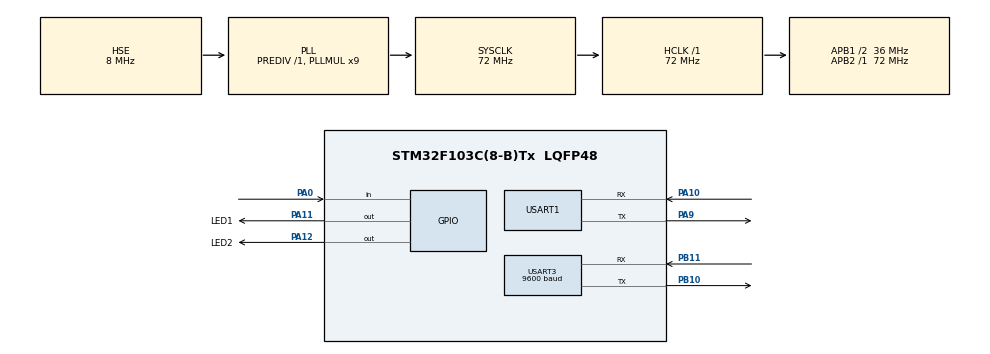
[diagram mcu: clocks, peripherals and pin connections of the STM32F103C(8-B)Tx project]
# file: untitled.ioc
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FREERTOS.Tasks01=defaultTask,24,128,StartDefaultTask,Default,NULL,Dynamic,NULL,NULL
FREERTOS.configUSE_NEWLIB_REENTRANT=1
Mcu.Family=STM32F1
Mcu.Name=STM32F103C(8-B)Tx
Mcu.Package=LQFP48
NVIC.PriorityGroup=NVIC_PRIORITYGROUP_4
NVIC.TIM2_IRQn=true\:5\:0\:false\:false\:true\:true\:true\:true\:true
NVIC.TIM4_IRQn=true\:15\:0\:false\:false\:true\:false\:false\:true\:true
NVIC.TimeBase=TIM4_IRQn
NVIC.TimeBaseIP=TIM4
NVIC.USART3_IRQn=true\:5\:0\:false\:false\:true\:true\:true\:true\:true
PA0-WKUP.Signal=GPIO_Input
PA10.Mode=Asynchronous
PA10.Signal=USART1_RX
PA11.GPIO_Label=LED1
PA11.Signal=GPIO_Output
PA12.GPIO_Label=LED2
PA12.Signal=GPIO_Output
PA13.Mode=Serial_Wire
PA13.Signal=SYS_JTMS-SWDIO
PA14.Mode=Serial_Wire
PA14.Signal=SYS_JTCK-SWCLK
PA9.Mode=Asynchronous
PA9.Signal=USART1_TX
PB10.Mode=Asynchronous
PB10.Signal=USART3_TX
PB11.Mode=Asynchronous
PB11.Signal=USART3_RX
PD0-OSC_IN.Mode=HSE-External-Oscillator
PD0-OSC_IN.Signal=RCC_OSC_IN
PD1-OSC_OUT.Mode=HSE-External-Oscillator
PD1-OSC_OUT.Signal=RCC_OSC_OUT
ProjectManager.HeapSize=0x200
ProjectManager.StackSize=0x400
ProjectManager.TargetToolchain=STM32CubeIDE
RCC.AHBFreq_Value=72000000
RCC.APB1CLKDivider=RCC_HCLK_DIV2
RCC.APB1Freq_Value=36000000
RCC.APB1TimFreq_Value=72000000
RCC.APB2Freq_Value=72000000
RCC.APB2TimFreq_Value=72000000
RCC.HCLKFreq_Value=72000000
RCC.PLLMUL=RCC_PLL_MUL9
RCC.PLLSourceVirtual=RCC_PLLSOURCE_HSE
RCC.SYSCLKFreq_VALUE=72000000
RCC.SYSCLKSource=RCC_SYSCLKSOURCE_PLLCLK
RCC.USBFreq_Value=72000000
TIM2.Period=500-1
TIM2.Prescaler=72-1
USART1.VirtualMode=VM_ASYNC
USART3.BaudRate=9600
USART3.VirtualMode=VM_ASYNC
VP_FREERTOS_VS_CMSIS_V2.Mode=CMSIS_V2
VP_SYS_VS_tim4.Mode=TIM4
VP_TIM2_VS_ClockSourceINT.Mode=Internal
board=custom

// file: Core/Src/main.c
/* USER CODE BEGIN Header */
/**
  ******************************************************************************
  * @file           : main.c
  * @brief          : Main program body
  ******************************************************************************
  * @attention
  *
  * Copyright (c) 2024 STMicroelectronics.
  * All rights reserved.
  *
  * This software is licensed under terms that can be found in the LICENSE file
  * in the root directory of this software component.
  * If no LICENSE file comes with this software, it is provided AS-IS.
  *
  ******************************************************************************
  */
/* USER CODE END Header */
#include "main.h"
#include "cmsis_os.h"

/* USER CODE BEGIN Includes */
#include "semphr.h"
#include "user_debug.h"
#include "user_usart.h"
#include "user_task.h"
/* USER CODE END Includes */

TIM_HandleTypeDef htim2;

UART_HandleTypeDef huart1;
UART_HandleTypeDef huart3;

/* Definitions for defaultTask */
osThreadId_t defaultTaskHandle;
const osThreadAttr_t defaultTask_attributes = {
  .name = "defaultTask",
  .stack_size = 128 * 4,
  .priority = (osPriority_t) osPriorityNormal,
};

void SystemClock_Config(void);
static void MX_GPIO_Init(void);
static void MX_TIM2_Init(void);
static void MX_USART1_UART_Init(void);
static void MX_USART3_UART_Init(void);
void StartDefaultTask(void *argument);

/* USER CODE BEGIN 0 */
SemaphoreHandle_t uart1_mutex;

extern uint8_t usart3_temp_buffer[1];

extern osThreadId_t ledTaskHandle;
extern const osThreadAttr_t ledTask_attributes;

extern osThreadId_t usartTaskHandle;
extern const osThreadAttr_t usartTask_attributes;

extern void UsartDefaultTask(void *argument);
extern void LedDefaultTask(void *argument);
/* USER CODE END 0 */

int main(void)
{

  /* MCU Configuration--------------------------------------------------------*/

  /* Reset of all peripherals, Initializes the Flash interface and the Systick. */
  HAL_Init();

  /* USER CODE BEGIN Init */
  uart1_mutex = xSemaphoreCreateMutex();
  /* USER CODE END Init */

  /* Configure the system clock */
  SystemClock_Config();

  /* Initialize all configured peripherals */
  MX_GPIO_Init();
  MX_TIM2_Init();
  MX_USART1_UART_Init();
  MX_USART3_UART_Init();
  /* USER CODE BEGIN 2 */
  HAL_TIM_Base_Start_IT(&htim2);
  HAL_UART_Receive_IT(&huart3, usart3_temp_buffer, 1);
  /* USER CODE END 2 */

  /* Init scheduler */
  osKernelInitialize();

  /* Create the thread(s) */
  /* creation of defaultTask */
  defaultTaskHandle = osThreadNew(StartDefaultTask, NULL, &defaultTask_attributes);

  /* USER CODE BEGIN RTOS_THREADS */
  /* add threads, ... */
  ledTaskHandle = osThreadNew(LedDefaultTask, NULL, &ledTask_attributes);
  usartTaskHandle = osThreadNew(UsartDefaultTask, NULL, &usartTask_attributes);
  /* USER CODE END RTOS_THREADS */

  /* Start scheduler */
  osKernelStart();

  /* We should never get here as control is now taken by the scheduler */

  /* Infinite loop */
  while (1)
  {

  }
}

void SystemClock_Config(void)
{
  RCC_OscInitTypeDef RCC_OscInitStruct = {0};
  RCC_ClkInitTypeDef RCC_ClkInitStruct = {0};

  /** Initializes the RCC Oscillators according to the specified parameters
  * in the RCC_OscInitTypeDef structure.
  */
  RCC_OscInitStruct.OscillatorType = RCC_OSCILLATORTYPE_HSE;
  RCC_OscInitStruct.HSEState = RCC_HSE_ON;
  RCC_OscInitStruct.HSEPredivValue = RCC_HSE_PREDIV_DIV1;
  RCC_OscInitStruct.HSIState = RCC_HSI_ON;
  RCC_OscInitStruct.PLL.PLLState = RCC_PLL_ON;
  RCC_OscInitStruct.PLL.PLLSource = RCC_PLLSOURCE_HSE;
  RCC_OscInitStruct.PLL.PLLMUL = RCC_PLL_MUL9;
  if (HAL_RCC_OscConfig(&RCC_OscInitStruct) != HAL_OK)
  {
    Error_Handler();
  }

  /** Initializes the CPU, AHB and APB buses clocks
  */
  RCC_ClkInitStruct.ClockType = RCC_CLOCKTYPE_HCLK|RCC_CLOCKTYPE_SYSCLK
                              |RCC_CLOCKTYPE_PCLK1|RCC_CLOCKTYPE_PCLK2;
  RCC_ClkInitStruct.SYSCLKSource = RCC_SYSCLKSOURCE_PLLCLK;
  RCC_ClkInitStruct.AHBCLKDivider = RCC_SYSCLK_DIV1;
  RCC_ClkInitStruct.APB1CLKDivider = RCC_HCLK_DIV2;
  RCC_ClkInitStruct.APB2CLKDivider = RCC_HCLK_DIV1;

  if (HAL_RCC_ClockConfig(&RCC_ClkInitStruct, FLASH_LATENCY_2) != HAL_OK)
  {
    Error_Handler();
  }
}

static void MX_TIM2_Init(void)
{

  TIM_ClockConfigTypeDef sClockSourceConfig = {0};
  TIM_MasterConfigTypeDef sMasterConfig = {0};

  htim2.Instance = TIM2;
  htim2.Init.Prescaler = 72-1;
  htim2.Init.CounterMode = TIM_COUNTERMODE_UP;
  htim2.Init.Period = 500-1;
  htim2.Init.ClockDivision = TIM_CLOCKDIVISION_DIV1;
  htim2.Init.AutoReloadPreload = TIM_AUTORELOAD_PRELOAD_DISABLE;
  if (HAL_TIM_Base_Init(&htim2) != HAL_OK)
  {
    Error_Handler();
  }
  sClockSourceConfig.ClockSource = TIM_CLOCKSOURCE_INTERNAL;
  if (HAL_TIM_ConfigClockSource(&htim2, &sClockSourceConfig) != HAL_OK)
  {
    Error_Handler();
  }
  sMasterConfig.MasterOutputTrigger = TIM_TRGO_RESET;
  sMasterConfig.MasterSlaveMode = TIM_MASTERSLAVEMODE_DISABLE;
  if (HAL_TIMEx_MasterConfigSynchronization(&htim2, &sMasterConfig) != HAL_OK)
  {
    Error_Handler();
  }

}

static void MX_USART1_UART_Init(void)
{

  huart1.Instance = USART1;
  huart1.Init.BaudRate = 115200;
  huart1.Init.WordLength = UART_WORDLENGTH_8B;
  huart1.Init.StopBits = UART_STOPBITS_1;
  huart1.Init.Parity = UART_PARITY_NONE;
  huart1.Init.Mode = UART_MODE_TX_RX;
  huart1.Init.HwFlowCtl = UART_HWCONTROL_NONE;
  huart1.Init.OverSampling = UART_OVERSAMPLING_16;
  if (HAL_UART_Init(&huart1) != HAL_OK)
  {
    Error_Handler();
  }

}

static void MX_USART3_UART_Init(void)
{

  huart3.Instance = USART3;
  huart3.Init.BaudRate = 9600;
  huart3.Init.WordLength = UART_WORDLENGTH_8B;
  huart3.Init.StopBits = UART_STOPBITS_1;
  huart3.Init.Parity = UART_PARITY_NONE;
  huart3.Init.Mode = UART_MODE_TX_RX;
  huart3.Init.HwFlowCtl = UART_HWCONTROL_NONE;
  huart3.Init.OverSampling = UART_OVERSAMPLING_16;
  if (HAL_UART_Init(&huart3) != HAL_OK)
  {
    Error_Handler();
  }

}

static void MX_GPIO_Init(void)
{
  GPIO_InitTypeDef GPIO_InitStruct = {0};

  /* GPIO Ports Clock Enable */
  __HAL_RCC_GPIOD_CLK_ENABLE();
  __HAL_RCC_GPIOA_CLK_ENABLE();
  __HAL_RCC_GPIOB_CLK_ENABLE();

  /*Configure GPIO pin Output Level */
  HAL_GPIO_WritePin(GPIOA, LED1_Pin|LED2_Pin, GPIO_PIN_RESET);

  /*Configure GPIO pin : PA0 */
  GPIO_InitStruct.Pin = GPIO_PIN_0;
  GPIO_InitStruct.Mode = GPIO_MODE_INPUT;
  GPIO_InitStruct.Pull = GPIO_NOPULL;
  HAL_GPIO_Init(GPIOA, &GPIO_InitStruct);

  /*Configure GPIO pins : LED1_Pin LED2_Pin */
  GPIO_InitStruct.Pin = LED1_Pin|LED2_Pin;
  GPIO_InitStruct.Mode = GPIO_MODE_OUTPUT_PP;
  GPIO_InitStruct.Pull = GPIO_NOPULL;
  GPIO_InitStruct.Speed = GPIO_SPEED_FREQ_LOW;
  HAL_GPIO_Init(GPIOA, &GPIO_InitStruct);

}

void StartDefaultTask(void *argument)
{
  /* USER CODE BEGIN 5 */
  /* Infinite loop */
  for(;;)
  {
	  mainTask();
	  osDelay(1);
  }
  /* USER CODE END 5 */
}

void HAL_TIM_PeriodElapsedCallback(TIM_HandleTypeDef *htim)
{
  if (htim->Instance == TIM4) {
    HAL_IncTick();
  }
}

void Error_Handler(void)
{
  __disable_irq();
  while (1)
  {
  }
}
